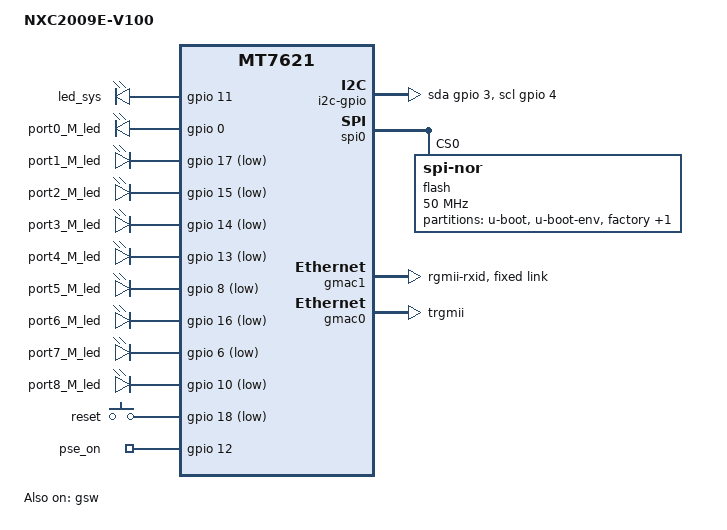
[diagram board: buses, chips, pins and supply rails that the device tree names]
/dts-v1/;

#include "mt7621.dtsi"

#include <dt-bindings/gpio/gpio.h>
#include <dt-bindings/input/input.h>

/ {
	compatible = "xwrt,nxc2009e-v100", "mediatek,mt7621-soc";
	model = "NXC2009E-V100";

	aliases {
		led-status = &led_sys;
		label-mac-device = &gmac0;
	};

	chosen {
		bootargs = "console=ttyS0,57600";
	};

	leds {
		compatible = "gpio-leds";

		led_sys: sys {
			label = "led_sys";
			gpios = <&gpio 11 GPIO_ACTIVE_HIGH>;
			default-state = "on";
		};

		port0_M_led {
			label = "port0_M_led";
			gpios = <&gpio 0 GPIO_ACTIVE_HIGH>;
			default-state = "off";
		};

		port1_M_led {
			label = "port1_M_led";
			gpios = <&gpio 17 GPIO_ACTIVE_LOW>;
			default-state = "off";
		};

		port2_M_led {
			label = "port2_M_led";
			gpios = <&gpio 15 GPIO_ACTIVE_LOW>;
			default-state = "off";
		};

		port3_M_led {
			label = "port3_M_led";
			gpios = <&gpio 14 GPIO_ACTIVE_LOW>;
			default-state = "off";
		};

		port4_M_led {
			label = "port4_M_led";
			gpios = <&gpio 13 GPIO_ACTIVE_LOW>;
			default-state = "off";
		};

		port5_M_led {
			label = "port5_M_led";
			gpios = <&gpio 8 GPIO_ACTIVE_LOW>;
			default-state = "off";
		};

		port6_M_led {
			label = "port6_M_led";
			gpios = <&gpio 16 GPIO_ACTIVE_LOW>;
			default-state = "off";
		};

		port7_M_led {
			label = "port7_M_led";
			gpios = <&gpio 6 GPIO_ACTIVE_LOW>;
			default-state = "off";
		};

		port8_M_led {
			label = "port8_M_led";
			gpios = <&gpio 10 GPIO_ACTIVE_LOW>;
			default-state = "off";
		};
	};

	keys {
		compatible = "gpio-keys";

		reset {
			label = "reset";
			gpios = <&gpio 18 GPIO_ACTIVE_LOW>;
			linux,code = <KEY_RESTART>;
		};
	};

	gpio_export {
		compatible = "gpio-export";
		#size-cells = <0>;

		pse_on {
			gpio-export,name = "pse_on";
			gpio-export,output = <1>;
			gpios = <&gpio 12 GPIO_ACTIVE_HIGH>;
		};
	};

	i2c-gpio {
		#address-cells = <1>;
		#size-cells = <0>;

		compatible = "i2c-gpio";
		gpios = <&gpio 3 GPIO_ACTIVE_HIGH &gpio 4 GPIO_ACTIVE_HIGH>;
		i2c-gpio,delay-us = <2>;
	};

	gsw150: gsw150@10 {
		compatible = "intel,gsw150";
		//reg = <0x10>;
		status = "okay";
		//mediatek,ethsys = <&ethsys>;
		mediatek,mdio = <&mdio>;
		mediatek,smi-addr = <16>;
		//mediatek,reset-pin = <&pio 54 0>;
	};
};

&sdhci {
	status = "disabled";
};

&spi0 {
	status = "okay";

	flash@0 {
		compatible = "jedec,spi-nor";
		reg = <0>;
		spi-max-frequency = <50000000>;

		partitions {
			compatible = "fixed-partitions";
			#address-cells = <1>;
			#size-cells = <1>;

			partition@0 {
				label = "u-boot";
				reg = <0x0 0x30000>;
			};

			partition@30000 {
				label = "u-boot-env";
				reg = <0x30000 0x10000>;
			};

			factory: partition@40000 {
				label = "factory";
				reg = <0x40000 0x10000>;
			};

			partition@50000 {
				compatible = "denx,uimage";
				label = "firmware";
				reg = <0x50000 0xfb0000>;
			};
		};
	};
};

&ethernet {
	pinctrl-0 = <&rgmii1_pins &rgmii2_pins &mdio_pins>;
};

&gsw {
	compatible = "mediatek,mt753x";
	status = "okay";

	mediatek,mdio = <&mdio>;
	mediatek,portmap = "llllw";
	mt7530,direct-phy-access;
	resets = <&rstctrl 2>;
	reset-names = "mcm";
	mediatek,mcm;
	//mediatek,ethsys = <&sysc>;

	#address-cells = <1>;
	#size-cells = <0>;

	/*
	port5: port@5 {
		compatible = "mediatek,mt753x-port";
		reg = <5>;
		phy-mode = "rgmii";
		fixed-link {
			speed = <1000>;
			full-duplex;
		};
	};
	*/

	port6: port@6 {
		compatible = "mediatek,mt753x-port";
		reg = <6>;
		phy-mode = "trgmii";
		fixed-link {
			speed = <1000>;
			full-duplex;
		};
	};
};

&switch0 {
	/* must delete compatible property */
	/delete-property/ compatible;
};

&gmac1 {
	status = "okay";
	phy-mode = "rgmii-rxid";
	label = "eth1";
	mtd-mac-address = <&factory 0xe000>;
	nvmem-cells = <&macaddr_factory_e000>;
	nvmem-cell-names = "mac-address";
	mac-address-increment = <5>;

	fixed-link {
		speed = <1000>;
		full-duplex;
		pause;
	};
};

&gmac0 {
	label = "eth0";
	mtd-mac-address = <&factory 0xe000>;
	nvmem-cells = <&macaddr_factory_e000>;
	nvmem-cell-names = "mac-address";
	phy-mode = "trgmii";
};

&state_default {
	gpio {
		groups = "i2c", "wdt", "jtag", "uart2", "uart3";
		function = "gpio";
	};
};

&factory {
	compatible = "nvmem-cells";
	#address-cells = <1>;
	#size-cells = <1>;

	macaddr_factory_e000: macaddr@e000 {
		reg = <0xe000 0x6>;
	};
};
